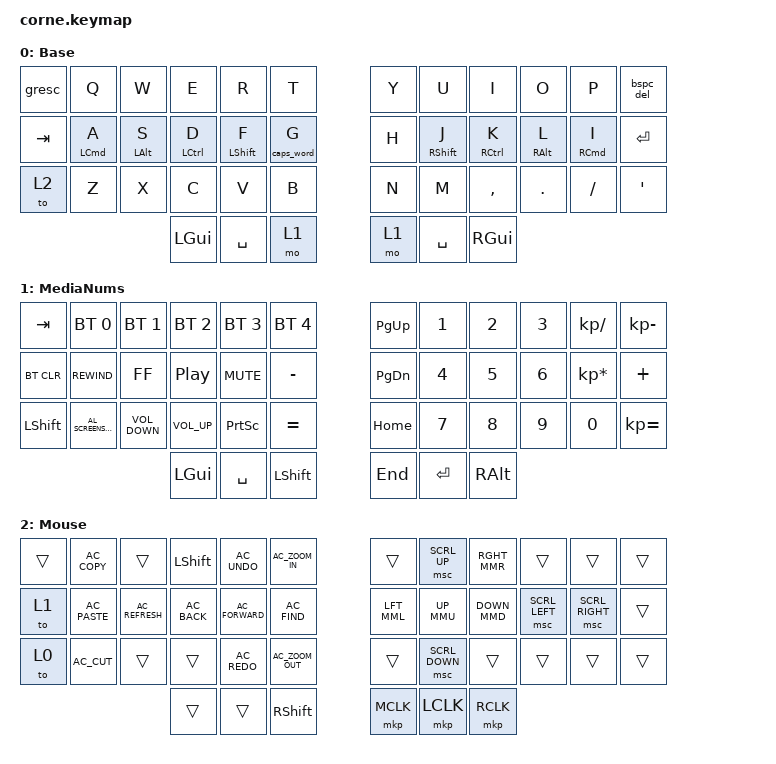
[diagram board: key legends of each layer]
/*
 * Copyright (c) 2020 The ZMK Contributors
 *
 * SPDX-License-Identifier: MIT
 */

#include <behaviors.dtsi>
#include <dt-bindings/zmk/bt.h>
#include <dt-bindings/zmk/keys.h>
#include <dt-bindings/zmk/pointing.h>

/ {
    behaviors {
        bspc_del: bspc_del {
            compatible = "zmk,behavior-mod-morph";
            label = "BSPC_DEL";
            bindings = <&kp BSPC>, <&kp DELETE>;

            #binding-cells = <0>;
            mods = <(MOD_LSFT)>;
        };

        LFT_MML: LFT_MML {
            compatible = "zmk,behavior-mod-morph";
            label = "LFT_MML";
            bindings = <&kp LEFT_ARROW>, <&mmv MOVE_LEFT>;

            #binding-cells = <0>;
            mods = <(MOD_LSFT)>;
        };

        RGHT_MMR: RGHT_MMR {
            compatible = "zmk,behavior-mod-morph";
            label = "RGHT_MMR";
            bindings = <&kp RIGHT_ARROW>, <&mmv MOVE_RIGHT>;

            #binding-cells = <0>;
            mods = <(MOD_LSFT)>;
        };

        UP_MMU: UP_MMU {
            compatible = "zmk,behavior-mod-morph";
            label = "UP_MMU";
            bindings = <&kp UP_ARROW>, <&mmv MOVE_UP>;

            #binding-cells = <0>;
            mods = <(MOD_LSFT)>;
        };

        DOWN_MMD: DOWN_MMD {
            compatible = "zmk,behavior-mod-morph";
            label = "DOWN_MMD";
            bindings = <&kp DOWN_ARROW>, <&mmv MOVE_DOWN>;

            #binding-cells = <0>;
            mods = <(MOD_LSFT)>;
        };

        MAGIC_TAP: MAGIC_TAP {
            compatible = "zmk,behavior-hold-tap";
            label = "MAGIC_TAP";
            bindings = <&kp>, <&kp>;

            #binding-cells = <2>;
            tapping-term-ms = <350>;
            hold-trigger-on-release;
            flavor = "tap-preferred";
            quick-tap-ms = <350>;
            require-prior-idle-ms = <350>;
        };

        HMR_LEFT_TAP: HMR_LEFT_TAP {
            compatible = "zmk,behavior-hold-tap";
            label = "HMR_LEFT_TAP";
            bindings = <&kp>, <&kp>;

            #binding-cells = <2>;
            tapping-term-ms = <350>;
            quick-tap-ms = <350>;
            require-prior-idle-ms = <350>;
            hold-trigger-on-release;
            flavor = "tap-preferred";
            hold-trigger-key-positions = <6 7 8 9 10 11 18 19 20 21 22 23 30 31 32 33 34 35 39 40 41>;
        };

        HMR_RIGHT_TAP: HMR_RIGHT_TAP {
            compatible = "zmk,behavior-hold-tap";
            label = "HMR_RIGHT_TAP";
            bindings = <&kp>, <&kp>;

            #binding-cells = <2>;
            tapping-term-ms = <350>;
            quick-tap-ms = <350>;
            require-prior-idle-ms = <350>;
            hold-trigger-on-release;
            flavor = "tap-preferred";
            hold-trigger-key-positions = <0 1 2 3 4 5 12 13 14 15 16 17 24 25 26 27 28 29 36 37 38>;
        };

        MY_ALLCAPS: MY_ALLCAPS {
            compatible = "zmk,behavior-hold-tap";
            label = "MY_ALLCAPS";
            bindings = <&caps_word>, <&kp>;

            #binding-cells = <2>;
            tapping-term-ms = <350>;
            hold-trigger-on-release;
            flavor = "tap-preferred";
            quick-tap-ms = <350>;
            require-prior-idle-ms = <350>;
            hold-trigger-key-positions = <1 2 3 4 5 13 14 15 16 17 25 26 27 28 29 6 7 8 9 10 18 19 20 21 22 30 31>;
        };
    };

    combos { compatible = "zmk,combos"; };

    keymap {
        compatible = "zmk,keymap";

        Base_0 {
            display-name = "Base";

            // -----------------------------------------------------------------------------------------
            // |  TAB |  Q  |  W  |  E  |  R  |  T  |   |  Y  |  U   |  I  |  O  |  P  | BSPC |
            // | CTRL |  A  |  S  |  D  |  F  |  G  |   |  H  |  J   |  K  |  L  |  ;  |  '   |
            // | SHFT |  Z  |  X  |  C  |  V  |  B  |   |  N  |  M   |  ,  |  .  |  /  | ESC  |
            //                    | GUI | LWR | SPC |   | ENT | RSE  | ALT |

            bindings = <
&gresc   &kp Q                 &kp W                     &kp E                         &kp R                       &kp T              &kp Y  &kp U                         &kp I                   &kp O                  &kp P                  &bspc_del
&kp TAB  &HMR_LEFT_TAP LCMD A  &HMR_LEFT_TAP LEFT_ALT S  &HMR_LEFT_TAP LEFT_CONTROL D  &HMR_LEFT_TAP LEFT_SHIFT F  &MY_ALLCAPS 0 G    &kp H  &HMR_RIGHT_TAP RIGHT_SHIFT J  &HMR_RIGHT_TAP RCTRL K  &HMR_RIGHT_TAP RALT L  &HMR_RIGHT_TAP RCMD I  &kp RET
&to 2    &kp Z                 &kp X                     &kp C                         &kp V                       &kp B              &kp N  &kp M                         &kp COMMA               &kp DOT                &kp FSLH               &kp SQT
                                                         &kp LEFT_GUI                  &kp SPACE                   &mo 1              &mo 1  &kp SPACE                     &kp RIGHT_GUI
            >;
        };

        MediaNums {
            display-name = "MediaNums";

            // -----------------------------------------------------------------------------------------
            // |  TAB |  1  |  2  |  3  |  4  |  5  |   |  6  |  7  |  8  |  9  |  0  | BSPC |
            // | BTCLR| BT1 | BT2 | BT3 | BT4 | BT5 |   | LFT | DWN |  UP | RGT |     |      |
            // | SHFT |     |     |     |     |     |   |     |     |     |     |     |      |
            //                    | GUI |     | SPC |   | ENT |     | ALT |

            bindings = <
&kp TAB     &bt BT_SEL 0          &bt BT_SEL 1       &bt BT_SEL 2      &bt BT_SEL 3     &bt BT_SEL 4    &kp PG_UP      &kp NUMBER_1  &kp NUMBER_2  &kp NUMBER_3  &kp KP_DIVIDE    &kp KP_SUBTRACT
&bt BT_CLR  &kp C_REWIND          &kp C_FF           &kp C_PLAY_PAUSE  &kp C_MUTE       &kp MINUS       &kp PAGE_DOWN  &kp NUMBER_4  &kp N5        &kp NUMBER_6  &kp KP_MULTIPLY  &kp PLUS
&kp LSHFT   &kp C_AL_SCREENSAVER  &kp C_VOLUME_DOWN  &kp C_VOLUME_UP   &kp PRINTSCREEN  &kp EQUAL       &kp HOME       &kp N7        &kp N8        &kp N9        &kp N0           &kp KP_EQUAL
                                                     &kp LGUI          &kp SPACE        &kp LSHFT       &kp END        &kp RET       &kp RALT
            >;

            label = "MediaNums";
        };

        Mouse {
            bindings = <
&trans  &kp C_AC_COPY   &trans            &kp LSHFT      &kp C_AC_UNDO     &kp C_AC_ZOOM_IN     &trans     &msc SCRL_UP    &RGHT_MMR  &trans          &trans           &trans
&to 1   &kp C_AC_PASTE  &kp C_AC_REFRESH  &kp C_AC_BACK  &kp C_AC_FORWARD  &kp C_AC_FIND        &LFT_MML   &UP_MMU         &DOWN_MMD  &msc SCRL_LEFT  &msc SCRL_RIGHT  &trans
&to 0   &kp C_AC_CUT    &trans            &trans         &kp C_AC_REDO     &kp C_AC_ZOOM_OUT    &trans     &msc SCRL_DOWN  &trans     &trans          &trans           &trans
                                          &trans         &trans            &kp RSHFT            &mkp MCLK  &mkp LCLK       &mkp RCLK
            >;

            label = "Mouse";
        };
    };

    conditional_layers { compatible = "zmk,conditional-layers"; };
};
